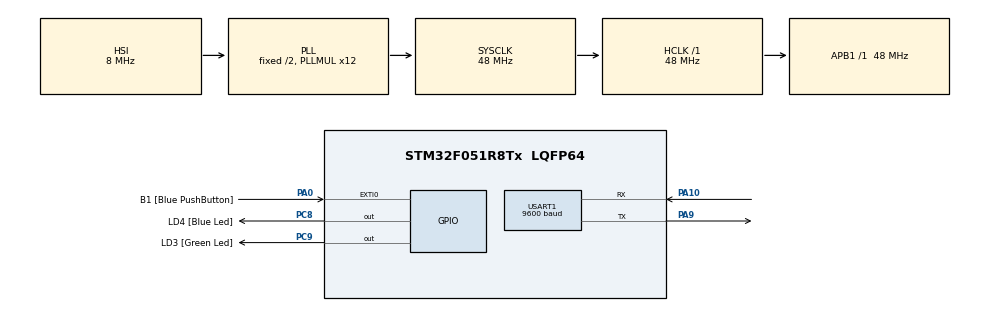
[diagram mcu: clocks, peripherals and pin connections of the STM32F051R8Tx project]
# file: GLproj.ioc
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Mcu.Family=STM32F0
Mcu.Name=STM32F051R8Tx
Mcu.Package=LQFP64
NVIC.USART1_IRQn=true\:0\:0\:false\:false\:true\:true\:true\:true
PA0.GPIO_Label=B1 [Blue PushButton]
PA0.GPIO_ModeDefaultEXTI=GPIO_MODE_EVT_RISING
PA0.Signal=GPXTI0
PA10.Mode=Asynchronous
PA10.Signal=USART1_RX
PA13.GPIO_Label=SWDIO
PA13.Mode=Serial_Wire
PA13.Signal=SYS_SWDIO
PA14.GPIO_Label=SWCLK
PA14.Mode=Serial_Wire
PA14.Signal=SYS_SWCLK
PA9.Mode=Asynchronous
PA9.Signal=USART1_TX
PC8.GPIO_Label=LD4 [Blue Led]
PC8.Signal=GPIO_Output
PC9.GPIO_Label=LD3 [Green Led]
PC9.Signal=GPIO_Output
ProjectManager.HeapSize=0x200
ProjectManager.StackSize=0x400
ProjectManager.TargetToolchain=STM32CubeIDE
RCC.AHBFreq_Value=48000000
RCC.APB1Freq_Value=48000000
RCC.APB1TimFreq_Value=48000000
RCC.HCLKFreq_Value=48000000
RCC.PLLMUL=RCC_PLL_MUL12
RCC.SYSCLKFreq_VALUE=48000000
RCC.SYSCLKSource=RCC_SYSCLKSOURCE_PLLCLK
USART1.BaudRate=9600
USART1.VirtualMode-Asynchronous=VM_ASYNC
board=STM32F0DISCOVERY

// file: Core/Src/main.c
/* USER CODE BEGIN Header */
/**
  ******************************************************************************
  * @file           : main.c
  * @brief          : Main program body
  ******************************************************************************
  * @attention
  *
  * Copyright (c) 2026 STMicroelectronics.
  * All rights reserved.
  *
  * This software is licensed under terms that can be found in the LICENSE file
  * in the root directory of this software component.
  * If no LICENSE file comes with this software, it is provided AS-IS.
  *
  ******************************************************************************
  */
/* USER CODE END Header */
#include "main.h"

/* USER CODE BEGIN Includes */
#include <stdlib.h>
#include "game_config.h"
#include "uart_protocol.h"
#include "game_io.h"
#include "game_engine.h"
#include "button.h"
#include "led.h"
#include "debug.h"
/* USER CODE END Includes */

UART_HandleTypeDef huart1;

/* USER CODE BEGIN PV */
extern uint8_t uart_packet_received;
extern uint8_t uart_last_crc_error;
uint8_t rx_byte;

uint8_t current_state = STATE_MENU;
uint32_t last_command_tick = 0;
uint8_t wakeup_from_sleep = 0;
uint8_t step_requested = 0;
/* USER CODE END PV */

void SystemClock_Config(void);
static void MX_GPIO_Init(void);
static void MX_USART1_UART_Init(void);

/* USER CODE BEGIN PFP */
void HAL_UART_RxCpltCallback(UART_HandleTypeDef *huart);
/* USER CODE END PFP */

int main(void)
{

  /* MCU Configuration--------------------------------------------------------*/

  /* Reset of all peripherals, Initializes the Flash interface and the Systick. */
  HAL_Init();

  /* Configure the system clock */
  SystemClock_Config();

  /* Initialize all configured peripherals */
  MX_GPIO_Init();
  MX_USART1_UART_Init();
  /* USER CODE BEGIN 2 */
  UART_Protocol_Init(&huart1);
  GameIO_Init();
  GameIO_RegisterCallback(Game_HandleCommand);
  Button_Init();
  LED_Init();
  Debug_Init();

  srand(HAL_GetTick());
  HAL_UART_Receive_IT(&huart1, &rx_byte, 1);

  LED_UpdateModes();
  last_command_tick = HAL_GetTick();
  /* USER CODE END 2 */

  /* Infinite loop */
  /* USER CODE BEGIN WHILE */
  while (1)
  {
    uint32_t now = HAL_GetTick();

    Button_Process();
    LED_Update();
    Debug_Process(now);

    if (wakeup_from_sleep) {
        wakeup_from_sleep = 0;
        HAL_UART_Receive_IT(&huart1, &rx_byte, 1);
        if (GameIO_GetState() == STATE_SLEEP) {
            GameIO_SetState(STATE_MENU);
            GameIO_SendState(STATE_MENU);
            LED_UpdateModes();
        }
        last_command_tick = now;
    }

    /* Game update logic */
    if (GameIO_GetState() == STATE_PLAYING) {
        static uint32_t last_game_update = 0;
        uint16_t speed_ms = Game_GetSpeedMs();

        if (Debug_GetMode() == DEBUG_STEP_MODE) {
            if (step_requested) {
                step_requested = 0;
                Game_Update();
            }
        } else {
            if (now - last_game_update >= speed_ms) {
                last_game_update = now;
                Game_Update();
            }
        }
    }

    /* Update LED modes if state or debug mode changed */
    static uint8_t last_state = 0xFF;
    static uint8_t last_debug_mode = 0xFF;
    uint8_t current = GameIO_GetState();
    uint8_t current_debug = Debug_GetMode();

    if (current != last_state || current_debug != last_debug_mode) {
        last_state = current;
        last_debug_mode = current_debug;
        LED_UpdateModes();
    }

    HAL_Delay(1);
    /* USER CODE END WHILE */

  }
}

void SystemClock_Config(void)
{
  RCC_OscInitTypeDef RCC_OscInitStruct = {0};
  RCC_ClkInitTypeDef RCC_ClkInitStruct = {0};
  RCC_PeriphCLKInitTypeDef PeriphClkInit = {0};

  RCC_OscInitStruct.OscillatorType = RCC_OSCILLATORTYPE_HSI;
  RCC_OscInitStruct.HSIState = RCC_HSI_ON;
  RCC_OscInitStruct.HSICalibrationValue = RCC_HSICALIBRATION_DEFAULT;
  RCC_OscInitStruct.PLL.PLLState = RCC_PLL_ON;
  RCC_OscInitStruct.PLL.PLLSource = RCC_PLLSOURCE_HSI;
  RCC_OscInitStruct.PLL.PLLMUL = RCC_PLL_MUL12;
  RCC_OscInitStruct.PLL.PREDIV = RCC_PREDIV_DIV1;
  if (HAL_RCC_OscConfig(&RCC_OscInitStruct) != HAL_OK) { Error_Handler(); }

  RCC_ClkInitStruct.ClockType = RCC_CLOCKTYPE_HCLK|RCC_CLOCKTYPE_SYSCLK|RCC_CLOCKTYPE_PCLK1;
  RCC_ClkInitStruct.SYSCLKSource = RCC_SYSCLKSOURCE_PLLCLK;
  RCC_ClkInitStruct.AHBCLKDivider = RCC_SYSCLK_DIV1;
  RCC_ClkInitStruct.APB1CLKDivider = RCC_HCLK_DIV1;
  if (HAL_RCC_ClockConfig(&RCC_ClkInitStruct, FLASH_LATENCY_1) != HAL_OK) { Error_Handler(); }

  PeriphClkInit.PeriphClockSelection = RCC_PERIPHCLK_USART1;
  PeriphClkInit.Usart1ClockSelection = RCC_USART1CLKSOURCE_PCLK1;
  if (HAL_RCCEx_PeriphCLKConfig(&PeriphClkInit) != HAL_OK) { Error_Handler(); }
}

static void MX_USART1_UART_Init(void)
{
  huart1.Instance = USART1;
  huart1.Init.BaudRate = 9600;
  huart1.Init.WordLength = UART_WORDLENGTH_8B;
  huart1.Init.StopBits = UART_STOPBITS_1;
  huart1.Init.Parity = UART_PARITY_NONE;
  huart1.Init.Mode = UART_MODE_TX_RX;
  huart1.Init.HwFlowCtl = UART_HWCONTROL_NONE;
  huart1.Init.OverSampling = UART_OVERSAMPLING_16;
  huart1.Init.OneBitSampling = UART_ONE_BIT_SAMPLE_DISABLE;
  huart1.AdvancedInit.AdvFeatureInit = UART_ADVFEATURE_NO_INIT;
  if (HAL_UART_Init(&huart1) != HAL_OK) { Error_Handler(); }
}

static void MX_GPIO_Init(void)
{
  GPIO_InitTypeDef GPIO_InitStruct = {0};

  __HAL_RCC_GPIOA_CLK_ENABLE();
  __HAL_RCC_GPIOC_CLK_ENABLE();

  HAL_GPIO_WritePin(GPIOC, LD4_Pin|LD3_Pin, GPIO_PIN_RESET);

  /*Configure GPIO pin : PA0 */
  GPIO_InitStruct.Pin = GPIO_PIN_0;
  GPIO_InitStruct.Mode = GPIO_MODE_INPUT;
  GPIO_InitStruct.Pull = GPIO_PULLDOWN;  // Це важливо
  HAL_GPIO_Init(GPIOA, &GPIO_InitStruct);

  /*Configure GPIO pins : LD4_Pin LD3_Pin */
  GPIO_InitStruct.Pin = LD4_Pin|LD3_Pin;
  GPIO_InitStruct.Mode = GPIO_MODE_OUTPUT_PP;
  GPIO_InitStruct.Pull = GPIO_NOPULL;
  GPIO_InitStruct.Speed = GPIO_SPEED_FREQ_LOW;
  HAL_GPIO_Init(GPIOC, &GPIO_InitStruct);
}

/* USER CODE BEGIN 4 */
void HAL_UART_RxCpltCallback(UART_HandleTypeDef *huart)
{
    if (huart->Instance == USART1)
    {
        if (GameIO_GetState() == STATE_SLEEP) {
            wakeup_from_sleep = 1;
        }

        last_command_tick = HAL_GetTick();
        UART_ProcessByte(rx_byte);

        if (uart_packet_received) {
            LED_TriggerEvent(LED_EVENT_ACK);
            uart_packet_received = 0;
        }
        if (uart_last_crc_error) {
            LED_TriggerEvent(LED_EVENT_CRC_ERROR);
            uart_last_crc_error = 0;
        }

        HAL_UART_Receive_IT(&huart1, &rx_byte, 1);
    }
}
/* USER CODE END 4 */

void Error_Handler(void)
{
  __disable_irq();
  while (1) {}
}
